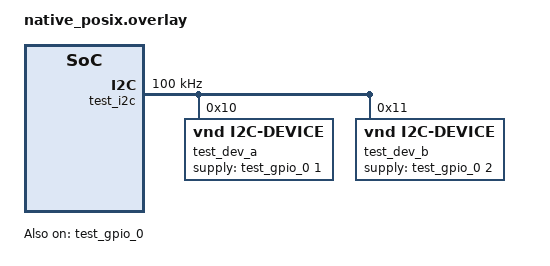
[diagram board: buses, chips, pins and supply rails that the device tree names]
/*
 * Copyright 2023 Google LLC
 *
 * SPDX-License-Identifier: Apache-2.0
 */

/ {
	test_gpio_0: gpio@ffff {
		gpio-controller;
		#gpio-cells = <0x2>;
		compatible = "vnd,gpio-device";
		status = "okay";
		reg = <0xffff 0x1000>;
	};

	test_i2c: i2c@11112222 {
		#address-cells = <1>;
		#size-cells = <0>;
		compatible = "vnd,i2c";
		status = "okay";
		reg = <0x11112222 0x1000>;
		clock-frequency = <100000>;

		test_dev_a: test-i2c-dev@10 {
			compatible = "vnd,i2c-device";
			status = "okay";
			reg = <0x10>;
			supply-gpios = <&test_gpio_0 1 0>;
		};

		test_dev_b: test-i2c-dev@11 {
			compatible = "vnd,i2c-device";
			status = "okay";
			reg = <0x11>;
			supply-gpios = <&test_gpio_0 2 0>;
		};
	};
};
